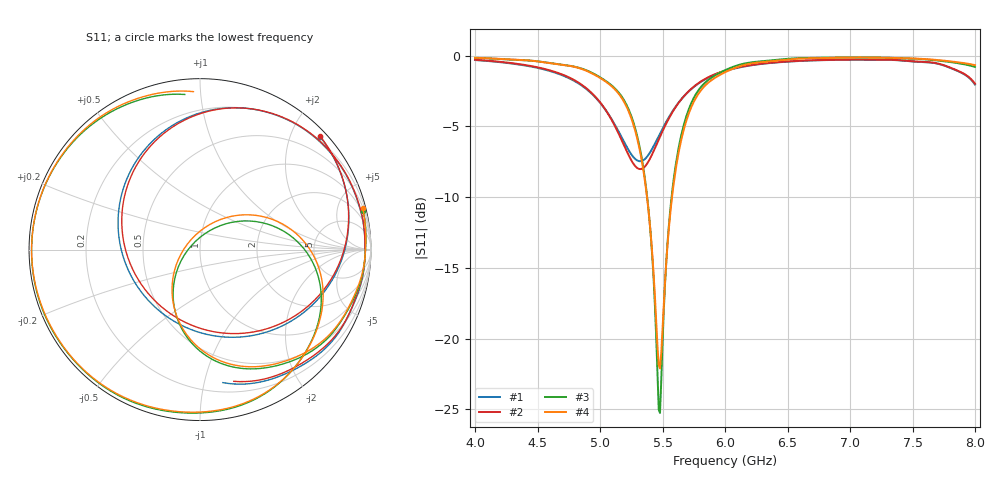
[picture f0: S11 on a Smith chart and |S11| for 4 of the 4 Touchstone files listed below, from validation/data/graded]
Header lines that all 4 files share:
# GHz S RI R 50
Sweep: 4 GHz to 8 GHz
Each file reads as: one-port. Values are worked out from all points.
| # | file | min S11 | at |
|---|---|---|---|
| 1 | patch_baseline_graded_e0.5_d3.s1p | -7.5 dB | 5.32 GHz |
| 2 | patch_baseline_graded_e0.25_d6.s1p | -8.0 dB | 5.32 GHz |
| 3 | patch_inset4_graded_e0.5_d3.s1p | -25.3 dB | 5.48 GHz |
| 4 | patch_inset4_graded_e0.25_d6.s1p | -22.1 dB | 5.48 GHz |
